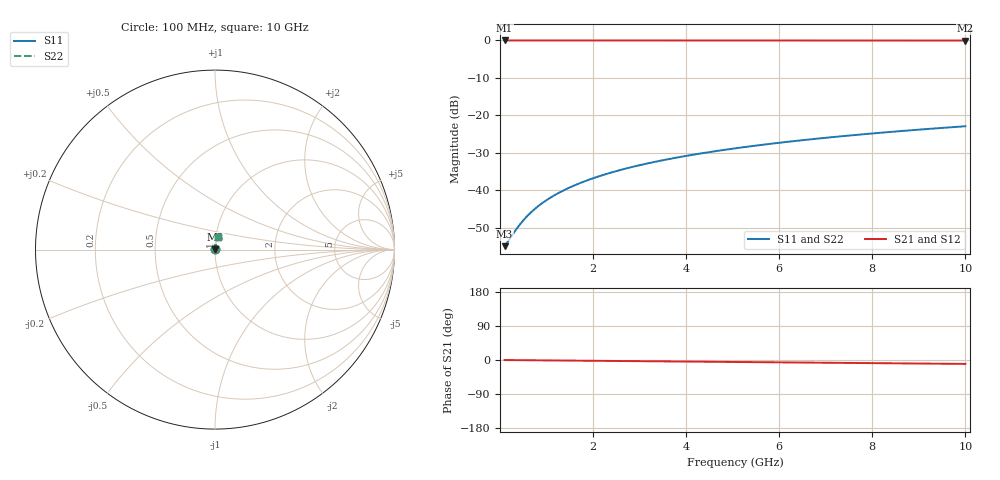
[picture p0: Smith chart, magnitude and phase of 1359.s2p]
# Hz S RI R 50.00
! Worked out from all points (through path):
!   100 points, 100 MHz to 10 GHz, reference 50 ohm
!   highest |S21| = -0.01 dB at 100 MHz (marker M1); lowest = 0.0 dB at 10 GHz (marker M2)
!   group delay of S21, straight-line fit = 2.87 ps
!   lowest |S11| = -54.9 dB at 100 MHz (marker M3), VSWR 1.00, Z = 50.2 + j0.0716 ohm
!   |S11| at or under -10 dB: start of sweep to end of sweep
!   |S22| runs from -54.9 to -22.9 dB; largest |S21 - S12| = 0
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1e8  0.00164 0.000714  0.9984 -0.0018  0.9984 -0.0018  0.00164 0.000714
3e8  0.00167 0.00214  0.9983 -0.00538  0.9983 -0.00538  0.00167 0.00214
4e8  0.00169 0.00286  0.9983 -0.00718  0.9983 -0.00718  0.00169 0.00286
5e8  0.0017 0.00357  0.9983 -0.00897  0.9983 -0.00897  0.0017 0.00357
6e8  0.00172 0.00428  0.9982 -0.0108  0.9982 -0.0108  0.00172 0.00428
7e8  0.00174 0.005  0.9982 -0.0126  0.9982 -0.0126  0.00174 0.005
8e8  0.00177 0.00571  0.9982 -0.0144  0.9982 -0.0144  0.00177 0.00571
1e9  0.00182 0.00714  0.9981 -0.0179  0.9981 -0.0179  0.00182 0.00714
1.2e9  0.00188 0.00856  0.998 -0.0215  0.998 -0.0215  0.00188 0.00856
1.5e9  0.00199 0.0107  0.9979 -0.0269  0.9979 -0.0269  0.00199 0.0107
1.8e9  0.00213 0.0128  0.9977 -0.0323  0.9977 -0.0323  0.00213 0.0128
2.1e9  0.00228 0.015  0.9974 -0.0377  0.9974 -0.0377  0.00228 0.015
2.5e9  0.00252 0.0178  0.9971 -0.0449  0.9971 -0.0449  0.00252 0.0178
2.9e9  0.00281 0.0207  0.9967 -0.052  0.9967 -0.052  0.00281 0.0207
3.4e9  0.00322 0.0242  0.9961 -0.061  0.9961 -0.061  0.00322 0.0242
4.2e9  0.00401 0.0299  0.9949 -0.0753  0.9949 -0.0753  0.00401 0.0299
5.1e9  0.00509 0.0362  0.9933 -0.0914  0.9933 -0.0914  0.00509 0.0362
5.9e9  0.00623 0.0418  0.9917 -0.1057  0.9917 -0.1057  0.00623 0.0418
6.7e9  0.00753 0.0474  0.9898 -0.12  0.9898 -0.12  0.00753 0.0474
7.5e9  0.00899 0.0529  0.9876 -0.1343  0.9876 -0.1343  0.00899 0.0529
8.4e9  0.0108 0.0591  0.9849 -0.1502  0.9849 -0.1502  0.0108 0.0591
1e10  0.0146 0.07  0.9794 -0.1785  0.9794 -0.1785  0.0146 0.07
